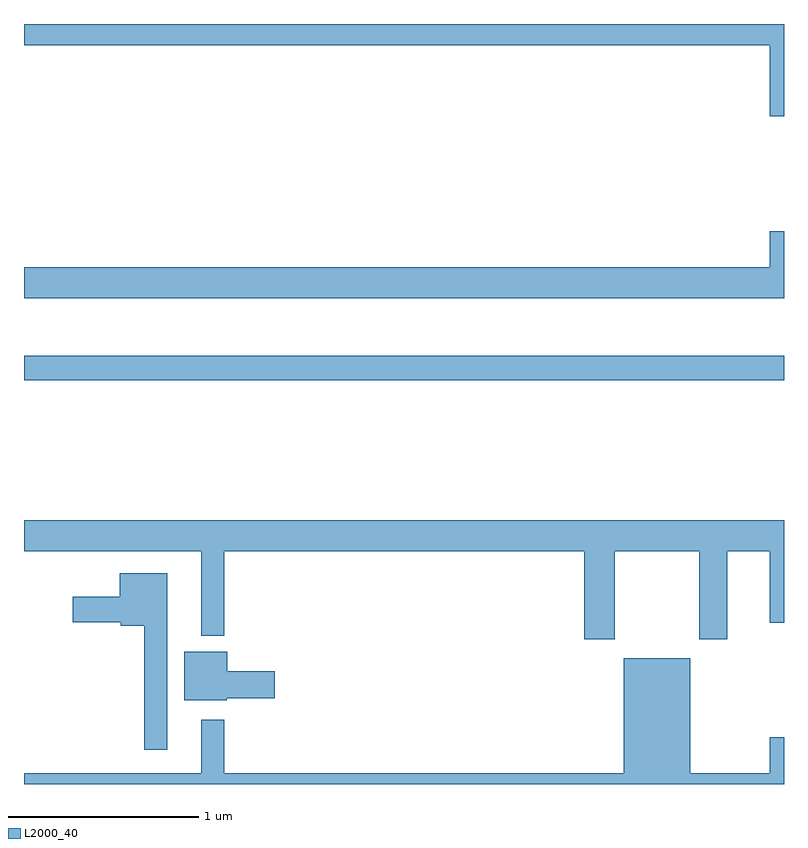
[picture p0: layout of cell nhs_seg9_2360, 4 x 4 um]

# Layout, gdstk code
import gdstk
lib = gdstk.Library(unit=1e-6, precision=1e-09)
def R(c, l, rs):  # rectangles x0, y0, x1, y1
    for r in rs: c.add(gdstk.rectangle(r[:2], r[2:], *l))
def P(c, l, *ps):  # polygons
    for p in ps: c.add(gdstk.Polygon(p, *l))
L2000_40 = (2000, 40)

nhs_seg9_2360 = lib.new_cell('nhs_seg9_2360')
R(nhs_seg9_2360, L2000_40, [(245,1226.626,249,1226.755)])
P(nhs_seg9_2360, L2000_40, [(245,1228.388),(248.924,1228.388),(248.924,1228.014),(249,1228.014),(249,1228.5),(245,1228.5)],
  [(249,1227.409),(248.924,1227.409),(248.924,1227.22),(245,1227.22),(245,1227.056),(249,1227.056)],
  [(248.109,1225.724),(248.554,1225.724),(248.554,1225.263),(248.701,1225.263),(248.701,1225.724),(248.924,1225.724),(248.924,1225.35),(249,1225.35),(249,1225.888),(245,1225.888),(245,1225.724),(245.933,1225.724),(245.933,1225.28),(246.055,1225.28),(246.055,1225.724),(247.949,1225.724),(247.949,1225.263),(248.109,1225.263)],
  [(245.755,1225.609),(245.504,1225.609),(245.504,1225.486),(245.256,1225.486),(245.256,1225.352),(245.508,1225.352),(245.508,1225.334),(245.634,1225.334),(245.634,1224.681),(245.755,1224.681)],
  [(246.066,1224.952),(246.319,1224.952),(246.319,1225.094),(246.07,1225.094),(246.07,1225.195),(245.843,1225.195),(245.843,1224.941),(246.066,1224.941)],
  [(249,1224.745),(248.924,1224.745),(248.924,1224.556),(248.506,1224.556),(248.506,1225.162),(248.156,1225.162),(248.156,1224.556),(246.055,1224.556),(246.055,1224.838),(245.933,1224.838),(245.933,1224.556),(245,1224.556),(245,1224.5),(249,1224.5)])

lib.write_gds('nhs_seg9_2360.gds')
